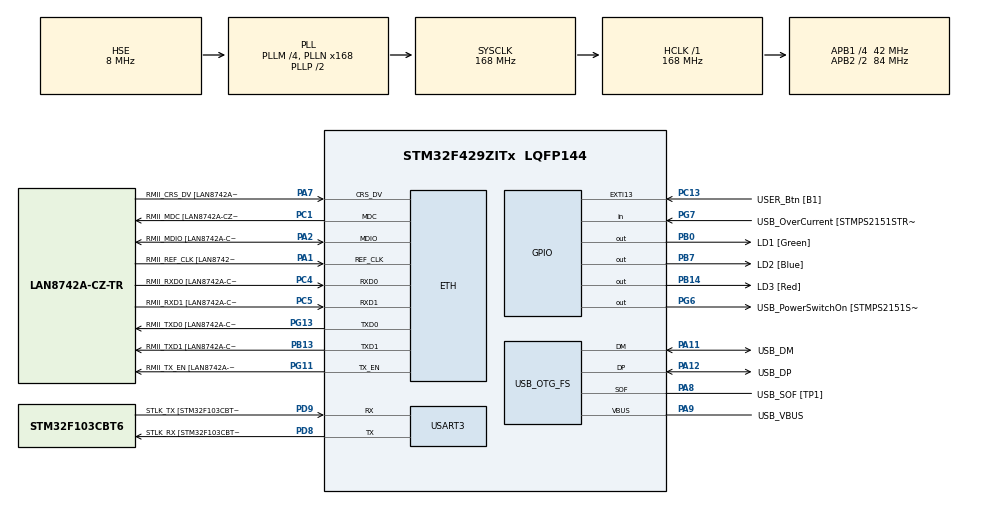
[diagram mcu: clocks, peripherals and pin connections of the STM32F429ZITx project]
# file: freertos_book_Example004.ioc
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ETH.MediaInterface=HAL_ETH_RMII_MODE
ETH.PHY_Name=LAN8742A_PHY_ADDRESS
ETH.PHY_Value=0
ETH.PhyAddress=0
FREERTOS.MEMORY_ALLOCATION=0
FREERTOS.Tasks01=defaultTask,0,128,StartDefaultTask,Default,NULL,Dynamic,NULL,NULL
FREERTOS.configTICK_RATE_HZ=100
FREERTOS.configUSE_NEWLIB_REENTRANT=1
Mcu.Family=STM32F4
Mcu.Name=STM32F429ZITx
Mcu.Package=LQFP144
NVIC.PriorityGroup=NVIC_PRIORITYGROUP_4
NVIC.TIM7_IRQn=true\:15\:0\:false\:false\:true\:false\:false\:true\:true
NVIC.TimeBase=TIM7_IRQn
NVIC.TimeBaseIP=TIM7
PA1.GPIO_Label=RMII_REF_CLK [LAN8742A-CZ-TR_REFCLK0]
PA1.Mode=RMII
PA1.Signal=ETH_REF_CLK
PA10.GPIO_Label=USB_ID
PA10.Signal=USB_OTG_FS_ID
PA11.GPIO_Label=USB_DM
PA11.Mode=Device_Only
PA11.Signal=USB_OTG_FS_DM
PA12.GPIO_Label=USB_DP
PA12.Mode=Device_Only
PA12.Signal=USB_OTG_FS_DP
PA13.GPIO_Label=TMS
PA13.Mode=Serial_Wire
PA13.Signal=SYS_JTMS-SWDIO
PA14.GPIO_Label=TCK
PA14.Mode=Serial_Wire
PA14.Signal=SYS_JTCK-SWCLK
PA2.GPIO_Label=RMII_MDIO [LAN8742A-CZ-TR_MDIO]
PA2.Mode=RMII
PA2.Signal=ETH_MDIO
PA7.GPIO_Label=RMII_CRS_DV [LAN8742A-CZ-TR_CRS_DV]
PA7.Mode=RMII
PA7.Signal=ETH_CRS_DV
PA8.GPIO_Label=USB_SOF [TP1]
PA8.Mode=Activate_SOF_FS
PA8.Signal=USB_OTG_FS_SOF
PA9.GPIO_Label=USB_VBUS
PA9.Mode=Activate_VBUS
PA9.Signal=USB_OTG_FS_VBUS
PB0.GPIO_Label=LD1 [Green]
PB0.Signal=GPIO_Output
PB13.GPIO_Label=RMII_TXD1 [LAN8742A-CZ-TR_TXD1]
PB13.Mode=RMII
PB13.Signal=ETH_TXD1
PB14.GPIO_Label=LD3 [Red]
PB14.Signal=GPIO_Output
PB7.GPIO_Label=LD2 [Blue]
PB7.Signal=GPIO_Output
PC1.GPIO_Label=RMII_MDC [LAN8742A-CZ-TR_MDC]
PC1.Mode=RMII
PC1.Signal=ETH_MDC
PC13.GPIO_Label=USER_Btn [B1]
PC13.Signal=GPXTI13
PC14/OSC32_IN.Mode=LSE-External-Oscillator
PC14/OSC32_IN.Signal=RCC_OSC32_IN
PC15/OSC32_OUT.Mode=LSE-External-Oscillator
PC15/OSC32_OUT.Signal=RCC_OSC32_OUT
PC4.GPIO_Label=RMII_RXD0 [LAN8742A-CZ-TR_RXD0]
PC4.Mode=RMII
PC4.Signal=ETH_RXD0
PC5.GPIO_Label=RMII_RXD1 [LAN8742A-CZ-TR_RXD1]
PC5.Mode=RMII
PC5.Signal=ETH_RXD1
PD8.GPIO_Label=STLK_RX [STM32F103CBT6_PA3]
PD8.Mode=Asynchronous
PD8.Signal=USART3_TX
PD9.GPIO_Label=STLK_TX [STM32F103CBT6_PA2]
PD9.Mode=Asynchronous
PD9.Signal=USART3_RX
PG11.GPIO_Label=RMII_TX_EN [LAN8742A-CZ-TR_TXEN]
PG11.Mode=RMII
PG11.Signal=ETH_TX_EN
PG13.GPIO_Label=RMII_TXD0 [LAN8742A-CZ-TR_TXD0]
PG13.Mode=RMII
PG13.Signal=ETH_TXD0
PG6.GPIO_Label=USB_PowerSwitchOn [STMPS2151STR_EN]
PG6.Signal=GPIO_Output
PG7.GPIO_Label=USB_OverCurrent [STMPS2151STR_FAULT]
PG7.Signal=GPIO_Input
PH0/OSC_IN.GPIO_Label=MCO [STM32F103CBT6_PA8]
PH0/OSC_IN.Mode=HSE-External-Clock-Source
PH0/OSC_IN.Signal=RCC_OSC_IN
PH1/OSC_OUT.Mode=HSE-External-Clock-Source
PH1/OSC_OUT.Signal=RCC_OSC_OUT
ProjectManager.HeapSize=0x200
ProjectManager.StackSize=0x400
ProjectManager.TargetToolchain=STM32CubeIDE
RCC.48MHZClocksFreq_Value=48000000
RCC.AHBFreq_Value=168000000
RCC.APB1CLKDivider=RCC_HCLK_DIV4
RCC.APB1Freq_Value=42000000
RCC.APB1TimFreq_Value=84000000
RCC.APB2CLKDivider=RCC_HCLK_DIV2
RCC.APB2Freq_Value=84000000
RCC.APB2TimCLKDivider=2
RCC.APB2TimFreq_Value=168000000
RCC.CortexFreq_Value=168000000
RCC.HCLKFreq_Value=168000000
RCC.HSE_VALUE=8000000
RCC.HSI_VALUE=16000000
RCC.PLLM=4
RCC.PLLMUL=RCC_PLL_MUL9
RCC.PLLN=168
RCC.PLLQ=7
RCC.PRESCALERUSB=RCC_USBCLKSOURCE_PLL_DIV1_5
RCC.SYSCLKFreq_VALUE=168000000
RCC.SYSCLKSource=RCC_SYSCLKSOURCE_PLLCLK
RCC.SYSCLKSourceVirtual=RCC_SYSCLKSOURCE_PLLCLK
RCC.USBFreq_Value=48000000
RCC.VCOOutputFreq_Value=336000000
USART3.VirtualMode=VM_ASYNC
USB_OTG_FS.VirtualMode=Device_Only
VP_FREERTOS_VS_CMSIS_V1.Mode=CMSIS_V1
VP_SYS_VS_tim7.Mode=TIM7
board=NUCLEO-F429ZI

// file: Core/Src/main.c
/* USER CODE BEGIN Header */
/**
  ******************************************************************************
  * @file           : main.c
  * @brief          : Main program body
  ******************************************************************************
  * @attention
  *
  * Copyright (c) 2022 STMicroelectronics.
  * All rights reserved.
  *
  * This software is licensed under terms that can be found in the LICENSE file
  * in the root directory of this software component.
  * If no LICENSE file comes with this software, it is provided AS-IS.
  *
  ******************************************************************************
  */
/* USER CODE END Header */
#include "main.h"
#include "string.h"
#include "cmsis_os.h"

/* USER CODE BEGIN Includes */
/* Standard includes. */
#include <stdio.h>
#include <stdlib.h>

/* Demo includes. */
#include "supportingFunctions.h"

/* USER CODE END Includes */

/* USER CODE BEGIN PM */
/* Define the strings that will be passed in as the task parameters.  These are
defined const and off the stack to ensure they remain valid when the tasks are
executing. */
const char *pcTextForTask1 = "Task ALFA is running\r\n";
const char *pcTextForTask2 = "Task BETA is running\r\n";

/* USER CODE END PM */

ETH_TxPacketConfig TxConfig;
ETH_DMADescTypeDef  DMARxDscrTab[ETH_RX_DESC_CNT]; /* Ethernet Rx DMA Descriptors */
ETH_DMADescTypeDef  DMATxDscrTab[ETH_TX_DESC_CNT]; /* Ethernet Tx DMA Descriptors */

ETH_HandleTypeDef heth;

UART_HandleTypeDef huart3;

PCD_HandleTypeDef hpcd_USB_OTG_FS;

osThreadId defaultTaskHandle;

void SystemClock_Config(void);
static void MX_GPIO_Init(void);
static void MX_ETH_Init(void);
static void MX_USART3_UART_Init(void);
static void MX_USB_OTG_FS_PCD_Init(void);
void StartDefaultTask(void const * argument);

/* USER CODE BEGIN PFP */
void vTaskFunction( void *pvParameters );

/* USER CODE END PFP */

int main(void)
{
  /* USER CODE BEGIN 1 */
	const char *pcTextForMain = "freertos_book_Example004 is running: Using the Blocked state to create delay\r\n\n";

  /* USER CODE END 1 */

  /* MCU Configuration--------------------------------------------------------*/

  /* Reset of all peripherals, Initializes the Flash interface and the Systick. */
  HAL_Init();

  /* Configure the system clock */
  SystemClock_Config();

  /* Initialize all configured peripherals */
  MX_GPIO_Init();
  MX_ETH_Init();
  MX_USART3_UART_Init();
  MX_USB_OTG_FS_PCD_Init();
  /* USER CODE BEGIN 2 */
	/* Print out the name of this Example. */
	vPrintString( pcTextForMain );

  /* USER CODE END 2 */

  /* Create the thread(s) */
  /* definition and creation of defaultTask */
  osThreadDef(defaultTask, StartDefaultTask, osPriorityNormal, 0, 128);
  defaultTaskHandle = osThreadCreate(osThread(defaultTask), NULL);

  /* USER CODE BEGIN RTOS_THREADS */
  /* add threads, ... */
	BaseType_t ret;

  /* Task 1 thread at priority 1 */
	ret = xTaskCreate( vTaskFunction,				/* Pointer to the function thats implement the task. */
					   "Task ALFA",					/* Text name for the task. This is to facilitate debugging only. */
					   (2 * configMINIMAL_STACK_SIZE),	/* Stack depth in words. 				*/
	                   (void*)pcTextForTask1,    	/* Pass the text to be printed in as the task parameter. */
					   (tskIDLE_PRIORITY + 1UL),	/* This task will run at priority 1. 		*/
		               NULL );                   	/* We are not using the task handle. */

	/* Check the task was created successfully. */
	configASSERT( ret == pdPASS );

	/* Task 2 thread at priority 2 */
	ret = xTaskCreate( vTaskFunction,				/* Pointer to the function thats implement the task. */
		  	  	  	   "Task BETA",					/* Text name for the task. This is to facilitate debugging only. */
					   (2 * configMINIMAL_STACK_SIZE),	/* Stack depth in words. 				*/
	                   (void*)pcTextForTask2,    	/* Pass the text to be printed in as the task parameter. */
					   (tskIDLE_PRIORITY + 2UL),	/* This task will run at priority 2. 		*/
		               NULL );                   	/* We are not using the task handle. */

	/* Check the task was created successfully. */
	configASSERT( ret == pdPASS );

  /* USER CODE END RTOS_THREADS */

  /* Start scheduler */
  osKernelStart();

  /* We should never get here as control is now taken by the scheduler */
  /* Infinite loop */
  while (1)
  {

  }
}

void SystemClock_Config(void)
{
  RCC_OscInitTypeDef RCC_OscInitStruct = {0};
  RCC_ClkInitTypeDef RCC_ClkInitStruct = {0};

  /** Configure the main internal regulator output voltage
  */
  __HAL_RCC_PWR_CLK_ENABLE();
  __HAL_PWR_VOLTAGESCALING_CONFIG(PWR_REGULATOR_VOLTAGE_SCALE1);

  /** Initializes the RCC Oscillators according to the specified parameters
  * in the RCC_OscInitTypeDef structure.
  */
  RCC_OscInitStruct.OscillatorType = RCC_OSCILLATORTYPE_HSE;
  RCC_OscInitStruct.HSEState = RCC_HSE_BYPASS;
  RCC_OscInitStruct.PLL.PLLState = RCC_PLL_ON;
  RCC_OscInitStruct.PLL.PLLSource = RCC_PLLSOURCE_HSE;
  RCC_OscInitStruct.PLL.PLLM = 4;
  RCC_OscInitStruct.PLL.PLLN = 168;
  RCC_OscInitStruct.PLL.PLLP = RCC_PLLP_DIV2;
  RCC_OscInitStruct.PLL.PLLQ = 7;
  if (HAL_RCC_OscConfig(&RCC_OscInitStruct) != HAL_OK)
  {
    Error_Handler();
  }

  /** Initializes the CPU, AHB and APB buses clocks
  */
  RCC_ClkInitStruct.ClockType = RCC_CLOCKTYPE_HCLK|RCC_CLOCKTYPE_SYSCLK
                              |RCC_CLOCKTYPE_PCLK1|RCC_CLOCKTYPE_PCLK2;
  RCC_ClkInitStruct.SYSCLKSource = RCC_SYSCLKSOURCE_PLLCLK;
  RCC_ClkInitStruct.AHBCLKDivider = RCC_SYSCLK_DIV1;
  RCC_ClkInitStruct.APB1CLKDivider = RCC_HCLK_DIV4;
  RCC_ClkInitStruct.APB2CLKDivider = RCC_HCLK_DIV2;

  if (HAL_RCC_ClockConfig(&RCC_ClkInitStruct, FLASH_LATENCY_5) != HAL_OK)
  {
    Error_Handler();
  }
}

static void MX_ETH_Init(void)
{

   static uint8_t MACAddr[6];

  heth.Instance = ETH;
  MACAddr[0] = 0x00;
  MACAddr[1] = 0x80;
  MACAddr[2] = 0xE1;
  MACAddr[3] = 0x00;
  MACAddr[4] = 0x00;
  MACAddr[5] = 0x00;
  heth.Init.MACAddr = &MACAddr[0];
  heth.Init.MediaInterface = HAL_ETH_RMII_MODE;
  heth.Init.TxDesc = DMATxDscrTab;
  heth.Init.RxDesc = DMARxDscrTab;
  heth.Init.RxBuffLen = 1524;

  if (HAL_ETH_Init(&heth) != HAL_OK)
  {
    Error_Handler();
  }

  memset(&TxConfig, 0 , sizeof(ETH_TxPacketConfig));
  TxConfig.Attributes = ETH_TX_PACKETS_FEATURES_CSUM | ETH_TX_PACKETS_FEATURES_CRCPAD;
  TxConfig.ChecksumCtrl = ETH_CHECKSUM_IPHDR_PAYLOAD_INSERT_PHDR_CALC;
  TxConfig.CRCPadCtrl = ETH_CRC_PAD_INSERT;

}

static void MX_USART3_UART_Init(void)
{

  huart3.Instance = USART3;
  huart3.Init.BaudRate = 115200;
  huart3.Init.WordLength = UART_WORDLENGTH_8B;
  huart3.Init.StopBits = UART_STOPBITS_1;
  huart3.Init.Parity = UART_PARITY_NONE;
  huart3.Init.Mode = UART_MODE_TX_RX;
  huart3.Init.HwFlowCtl = UART_HWCONTROL_NONE;
  huart3.Init.OverSampling = UART_OVERSAMPLING_16;
  if (HAL_UART_Init(&huart3) != HAL_OK)
  {
    Error_Handler();
  }

}

static void MX_USB_OTG_FS_PCD_Init(void)
{

  hpcd_USB_OTG_FS.Instance = USB_OTG_FS;
  hpcd_USB_OTG_FS.Init.dev_endpoints = 4;
  hpcd_USB_OTG_FS.Init.speed = PCD_SPEED_FULL;
  hpcd_USB_OTG_FS.Init.dma_enable = DISABLE;
  hpcd_USB_OTG_FS.Init.phy_itface = PCD_PHY_EMBEDDED;
  hpcd_USB_OTG_FS.Init.Sof_enable = ENABLE;
  hpcd_USB_OTG_FS.Init.low_power_enable = DISABLE;
  hpcd_USB_OTG_FS.Init.lpm_enable = DISABLE;
  hpcd_USB_OTG_FS.Init.vbus_sensing_enable = ENABLE;
  hpcd_USB_OTG_FS.Init.use_dedicated_ep1 = DISABLE;
  if (HAL_PCD_Init(&hpcd_USB_OTG_FS) != HAL_OK)
  {
    Error_Handler();
  }

}

static void MX_GPIO_Init(void)
{
  GPIO_InitTypeDef GPIO_InitStruct = {0};

  /* GPIO Ports Clock Enable */
  __HAL_RCC_GPIOC_CLK_ENABLE();
  __HAL_RCC_GPIOH_CLK_ENABLE();
  __HAL_RCC_GPIOA_CLK_ENABLE();
  __HAL_RCC_GPIOB_CLK_ENABLE();
  __HAL_RCC_GPIOD_CLK_ENABLE();
  __HAL_RCC_GPIOG_CLK_ENABLE();

  /*Configure GPIO pin Output Level */
  HAL_GPIO_WritePin(GPIOB, LD1_Pin|LD3_Pin|LD2_Pin, GPIO_PIN_RESET);

  /*Configure GPIO pin Output Level */
  HAL_GPIO_WritePin(USB_PowerSwitchOn_GPIO_Port, USB_PowerSwitchOn_Pin, GPIO_PIN_RESET);

  /*Configure GPIO pin : USER_Btn_Pin */
  GPIO_InitStruct.Pin = USER_Btn_Pin;
  GPIO_InitStruct.Mode = GPIO_MODE_IT_RISING;
  GPIO_InitStruct.Pull = GPIO_NOPULL;
  HAL_GPIO_Init(USER_Btn_GPIO_Port, &GPIO_InitStruct);

  /*Configure GPIO pins : LD1_Pin LD3_Pin LD2_Pin */
  GPIO_InitStruct.Pin = LD1_Pin|LD3_Pin|LD2_Pin;
  GPIO_InitStruct.Mode = GPIO_MODE_OUTPUT_PP;
  GPIO_InitStruct.Pull = GPIO_NOPULL;
  GPIO_InitStruct.Speed = GPIO_SPEED_FREQ_LOW;
  HAL_GPIO_Init(GPIOB, &GPIO_InitStruct);

  /*Configure GPIO pin : USB_PowerSwitchOn_Pin */
  GPIO_InitStruct.Pin = USB_PowerSwitchOn_Pin;
  GPIO_InitStruct.Mode = GPIO_MODE_OUTPUT_PP;
  GPIO_InitStruct.Pull = GPIO_NOPULL;
  GPIO_InitStruct.Speed = GPIO_SPEED_FREQ_LOW;
  HAL_GPIO_Init(USB_PowerSwitchOn_GPIO_Port, &GPIO_InitStruct);

  /*Configure GPIO pin : USB_OverCurrent_Pin */
  GPIO_InitStruct.Pin = USB_OverCurrent_Pin;
  GPIO_InitStruct.Mode = GPIO_MODE_INPUT;
  GPIO_InitStruct.Pull = GPIO_NOPULL;
  HAL_GPIO_Init(USB_OverCurrent_GPIO_Port, &GPIO_InitStruct);

}

/* USER CODE BEGIN 4 */

/* USER CODE BEGIN Header_vTaskFunction */
/**
  * @brief  Function implementing the Task1 thread.
  * @param  argument: Not used
  * @retval None
  */
/* USER CODE END Header_vTaskFunction */
void vTaskFunction(void * pvParameters)
{
	char *pcTaskName;
	const TickType_t xDelayms = pdMS_TO_TICKS( 500UL );

	/* The string to print out is passed in via the parameter.  Cast this to a
	character pointer. */
	pcTaskName = ( char * ) pvParameters;

	/* As per most tasks, this task is implemented in an infinite loop. */
	for( ;; )
	{
		/* Print out the name of this task. */
		vPrintString( pcTaskName );

	    /* Delay for a period.  This time a call to vTaskDelay() is used which
	    places the task into the Blocked state until the delay period has
	    expired.  The parameter takes a time specified in 'ticks', and the
	    pdMS_TO_TICKS() macro is used (where the xDelay250ms constant is
	    declared) to convert 250 milliseconds into an equivalent time in
	    ticks. */
	    vTaskDelay( xDelayms );
  }
}

/* USER CODE END 4 */

void StartDefaultTask(void const * argument)
{
  /* USER CODE BEGIN 5 */
  /* Infinite loop */
  for(;;)
  {
    osDelay(50000);
  }
  /* USER CODE END 5 */
}

void HAL_TIM_PeriodElapsedCallback(TIM_HandleTypeDef *htim)
{
  if (htim->Instance == TIM7) {
    HAL_IncTick();
  }
}

void Error_Handler(void)
{
  __disable_irq();
  while (1)
  {
  }
}
